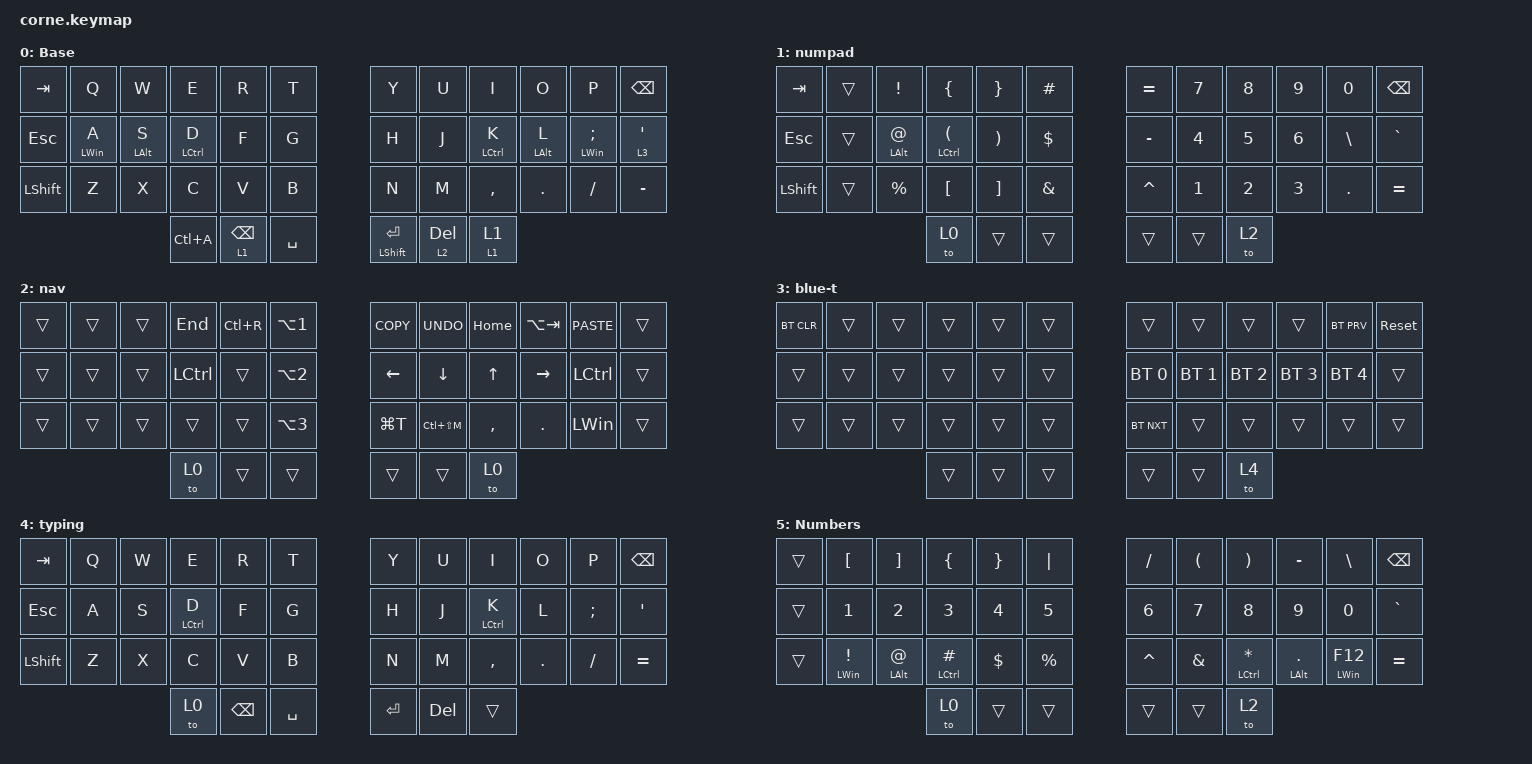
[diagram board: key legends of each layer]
/*
 * Copyright (c) 2020 The ZMK Contributors
 *
 * SPDX-License-Identifier: MIT
 */

#include <behaviors.dtsi>
#include <dt-bindings/zmk/bt.h>
#include <dt-bindings/zmk/keys.h>

/ {
    behaviors {
        mtt: mtt {
            compatible = "zmk,behavior-hold-tap";
            label = "HomeRowMod";
            bindings = <&kp>, <&kp>;

            #binding-cells = <2>;
            flavor = "tap-preferred";
            tapping-term-ms = <200>;
            require-prior-idle-ms = <125>;
            quick-tap-ms = <200>;
        };

        thl: tap_hold_layer {
            compatible = "zmk,behavior-hold-tap";
            label = "TAP_HOLD_LAYER";
            bindings = <&mo>, <&to>;

            #binding-cells = <2>;
            flavor = "hold-preferred";
            tapping-term-ms = <200>;
        };
    };

    keymap {
        compatible = "zmk,keymap";

        root {
            // -----------------------------------------------------------------------------------------
            // |  TAB |  Q  |  W  |  E  |  R  |  T  |   |  Y  |  U   |  I  |  O  |  P  | BKSP |
            // | CTRL |  A  |  S  |  D  |  F  |  G  |   |  H  |  J   |  K  |  L  |  ;  |  '   |
            // | SHFT |  Z  |  X  |  C  |  V  |  B  |   |  N  |  M   |  ,  |  .  |  /  | ESC  |
            //                    | GUI | LWR | SPC |   | ENT | RSE  | ALT |

            label = "Base";
            bindings = <
&kp TAB     &kp Q            &kp W            &kp E         &kp R            &kp T        &kp Y                 &kp U         &kp I         &kp O            &kp P                    &kp BSPC
&kp ESCAPE  &mtt LEFT_WIN A  &mtt LEFT_ALT S  &mtt LCTRL D  &kp F            &kp G        &kp H                 &kp J         &mtt LCTRL K  &mtt LEFT_ALT L  &mtt LEFT_WIN SEMICOLON  &lt 3 SINGLE_QUOTE
&kp LSHFT   &kp Z            &kp X            &kp C         &kp V            &kp B        &kp N                 &kp M         &kp COMMA     &kp DOT          &kp FSLH                 &kp MINUS
                                              &kp LC(A)     &lt 1 BACKSPACE  &kp SPACE    &mt LEFT_SHIFT ENTER  &lt 2 DELETE  &thl 1 1
            >;
        };

        num_alt {
            bindings = <
&kp TAB         &trans  &kp EXCLAMATION   &kp LEFT_BRACE               &kp RIGHT_BRACE        &kp HASH         &kp EQUAL  &kp N7        &kp N8  &kp N9  &kp N0         &kp BACKSPACE
&kp ESCAPE      &trans  &mtt LEFT_ALT AT  &mtt LCTRL LEFT_PARENTHESIS  &kp RIGHT_PARENTHESIS  &kp DOLLAR       &kp MINUS  &kp N4        &kp N5  &kp N6  &kp BACKSLASH  &kp GRAVE
&kp LEFT_SHIFT  &trans  &kp PERCENT       &kp LBKT                     &kp RBKT               &kp AMPERSAND    &kp CARET  &kp NUMBER_1  &kp N2  &kp N3  &kp PERIOD     &kp EQUAL
                                          &to 0                        &trans                 &trans           &trans     &trans        &to 2
            >;

            label = "numpad";
        };

        nav {
            // -----------------------------------------------------------------------------------------
            // |  TAB |  !  |  @  |  #  |  $  |  %  |   |  ^  |  &  |  *  |  (  |  )  | BKSP |
            // | CTRL |     |     |     |     |     |   |  -  |  =  |  [  |  ]  |  \  |  `   |
            // | SHFT |     |     |     |     |     |   |  _  |  +  |  {  |  }  | "|" |  ~   |
            //                    | GUI |     | SPC |   | ENT |     | ALT |

            label = "nav";
            bindings = <
&trans  &trans  &trans  &kp END    &kp LC(R)  &kp LA(NUMBER_1)    &kp K_COPY  &kp K_UNDO     &kp HOME      &kp LA(TAB)  &kp K_PASTE   &trans
&trans  &trans  &trans  &kp LCTRL  &trans     &kp LA(NUMBER_2)    &kp LEFT    &kp DOWN       &kp UP_ARROW  &kp RIGHT    &kp LCTRL     &trans
&trans  &trans  &trans  &trans     &trans     &kp LA(NUMBER_3)    &kp LG(T)   &kp LC(LS(M))  &kp COMMA     &kp PERIOD   &kp LEFT_WIN  &trans
                        &to 0      &trans     &trans              &trans      &trans         &to 0
            >;
        };

        kb {
            bindings = <
&bt BT_CLR  &trans  &trans  &trans  &trans  &trans    &trans        &trans        &trans        &trans        &bt BT_PRV    &sys_reset
&trans      &trans  &trans  &trans  &trans  &trans    &bt BT_SEL 0  &bt BT_SEL 1  &bt BT_SEL 2  &bt BT_SEL 3  &bt BT_SEL 4  &trans
&trans      &trans  &trans  &trans  &trans  &trans    &bt BT_NXT    &trans        &trans        &trans        &trans        &trans
                            &trans  &trans  &trans    &trans        &trans        &to 4
            >;

            label = "blue-t";
        };

        typing {
            bindings = <
&kp TAB    &kp Q  &kp W  &kp E         &kp R     &kp T        &kp Y    &kp U    &kp I         &kp O    &kp P     &kp BSPC
&kp ESC    &kp A  &kp S  &mtt LCTRL D  &kp F     &kp G        &kp H    &kp J    &mtt LCTRL K  &kp L    &kp SEMI  &kp SQT
&kp LSHFT  &kp Z  &kp X  &kp C         &kp V     &kp B        &kp N    &kp M    &kp COMMA     &kp DOT  &kp FSLH  &kp EQUAL
                         &to 0         &kp BSPC  &kp SPACE    &kp RET  &kp DEL  &trans
            >;

            label = "typing";
        };

        num {
            // -----------------------------------------------------------------------------------------
            // |  TAB |  1  |  2  |  3  |  4  |  5  |   |  6  |  7  |  8  |  9  |  0  | BKSP |
            // | BTCLR| BT1 | BT2 | BT3 | BT4 | BT5 |   | LFT | DWN |  UP | RGT |     |      |
            // | SHFT |     |     |     |     |     |   |     |     |     |     |     |      |
            //                    | GUI |     | SPC |   | ENT |     | ALT |

            label = "Numbers";
            bindings = <
&trans  &kp LEFT_BRACKET          &kp RIGHT_BRACKET     &kp LEFT_BRACE  &kp RIGHT_BRACE  &kp PIPE        &kp SLASH     &kp LEFT_PARENTHESIS  &kp RIGHT_PARENTHESIS  &kp MINUS            &kp BACKSLASH     &kp BSPC
&trans  &kp NUMBER_1              &kp NUMBER_2          &kp NUMBER_3    &kp NUMBER_4     &kp NUMBER_5    &kp NUMBER_6  &kp NUMBER_7          &kp NUMBER_8           &kp NUMBER_9         &kp NUMBER_0      &kp GRAVE
&trans  &mt LEFT_WIN EXCLAMATION  &mt LEFT_ALT AT_SIGN  &mt LCTRL HASH  &kp DOLLAR       &kp PERCENT     &kp CARET     &kp AMPERSAND         &mt LCTRL ASTERISK     &mt LEFT_ALT PERIOD  &mt LEFT_WIN F12  &kp EQUAL
                                                        &to 0           &trans           &trans          &trans        &trans                &to 2
            >;
        };
    };
};
